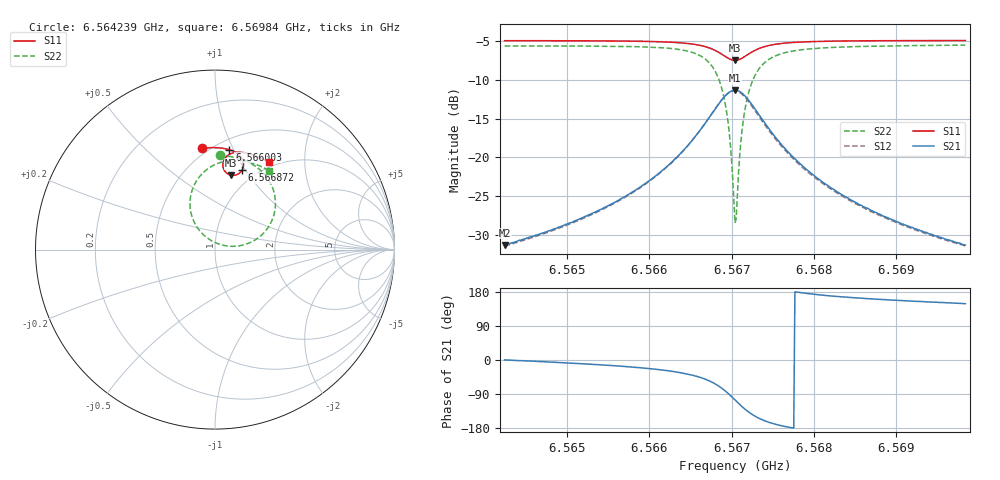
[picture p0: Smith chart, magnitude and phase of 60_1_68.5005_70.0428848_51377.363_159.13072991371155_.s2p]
#  HZ  S  RI  R  50.00
! Rohde & Schwarz Vector Network Analyzer
! Rohde-Schwarz,ZNB20-2Port,1311601062101988,3.16
! Created: UTC 3/20/2024, 5:06:21 PM
! freq[Hz]  re:S11  im:S11  re:S21  im:S21  re:S12  im:S12  re:S22  im:S22
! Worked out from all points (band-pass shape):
!   401 points, 6.564239 GHz to 6.56984 GHz, reference 50 ohm
!   highest |S21| = -11.31 dB at 6.56704 GHz (marker M1); lowest = -31.3 dB at 6.564239 GHz (marker M2)
!   |S21| within 3 dB of the highest: 6.566761 GHz to 6.56732 GHz (559.6 kHz wide, 0.00852 % of centre)
!   lowest |S11| = -7.4 dB at 6.56704 GHz (marker M3), VSWR 2.47, Z = 40.9 + j41.4 ohm
!   |S11| at or under -10 dB: nowhere
!   |S22| runs from -28.5 to -5.5 dB; largest |S21 - S12| = 0.013
!   S11 on the Smith chart (normalised r, x): 6.564239 GHz: 0.46, +0.77; 6.566003 GHz: 0.59, +0.96; 6.566872 GHz: 0.85, +0.97; 6.56984 GHz: 0.92, +1.33
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6.5642391e9  -0.0719 0.5643  0.0271 8.38e-05  0.0267 -0.000389  0.0273 0.5244
6.5651772e9  0.00448 0.5678  0.0399 -0.00706  0.0393 -0.00747  0.1147 0.5127
6.5660034e9  0.0803 0.5565  0.0654 -0.0275  0.0645 -0.0283  0.2179 0.4691
6.5661154e9  0.0917 0.5526  0.0714 -0.0338  0.0703 -0.0348  0.2363 0.4563
6.5664234e9  0.1265 0.534  0.0918 -0.0652  0.0904 -0.0665  0.2947 0.3945
6.5666475e9  0.1521 0.5037  0.1054 -0.1177  0.1031 -0.12  0.3342 0.2931
6.5667735e9  0.1592 0.4734  0.0987 -0.1707  0.0944 -0.1738  0.328 0.1922
6.5668715e9  0.1508 0.4426  0.0671 -0.2231  0.06 -0.2259  0.2726 0.094
6.5669555e9  0.1267 0.4197  0.00873 -0.2602  -0.00169 -0.2602  0.1658 0.028
6.5669835e9  0.115 0.4152  -0.0171 -0.2659  -0.0282 -0.2645  0.1192 0.0191
6.5670256e9  0.0957 0.4138  -0.0585 -0.2653  -0.0696 -0.2609  0.0458 0.0241
6.5670396e9  0.0892 0.4148  -0.0722 -0.2623  -0.0831 -0.2568  0.0219 0.0307
6.5670536e9  0.0828 0.4165  -0.0855 -0.2579  -0.0961 -0.2515  -0.00118 0.04
6.5670676e9  0.0769 0.4189  -0.0984 -0.2524  -0.1084 -0.2449  -0.0229 0.0514
6.5671096e9  0.0611 0.4299  -0.1319 -0.2289  -0.1398 -0.2195  -0.078 0.0967
6.5671516e9  0.0503 0.4445  -0.1559 -0.1991  -0.1611 -0.1888  -0.1153 0.1516
6.5672076e9  0.0438 0.4655  -0.1727 -0.1574  -0.1748 -0.147  -0.1376 0.2266
6.5672776e9  0.046 0.4892  -0.1755 -0.1114  -0.1747 -0.1025  -0.134 0.307
6.5675296e9  0.0843 0.5326  -0.1331 -0.0246  -0.1302 -0.0208  -0.0375 0.4519
6.5679777e9  0.145 0.5422  -0.0776 0.00817  -0.0757 0.00947  0.0905 0.4969
6.5689159e9  0.2309 0.5204  -0.0374 0.0146  -0.0366 0.0149  0.2202 0.478
6.5698401e9  0.2982 0.4867  -0.0232 0.0142  -0.0226 0.0141  0.2991 0.4403
